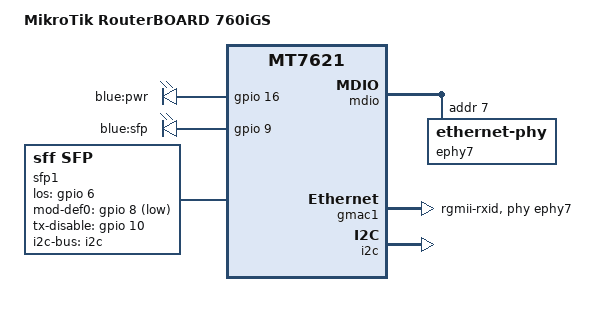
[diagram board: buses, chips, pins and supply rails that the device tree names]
// SPDX-License-Identifier: GPL-2.0-or-later OR MIT

#include "mt7621_mikrotik_routerboard-7xx.dtsi"

/ {
	compatible = "mikrotik,routerboard-760igs", "mediatek,mt7621-soc";
	model = "MikroTik RouterBOARD 760iGS";

	aliases {
		led-boot = &led_pwr;
		led-failsafe = &led_pwr;
		led-running = &led_pwr;
		led-upgrade = &led_pwr;
	};

	leds {
		compatible = "gpio-leds";

		led_pwr: pwr {
			label = "blue:pwr";
			gpios = <&gpio 16 GPIO_ACTIVE_HIGH>;
			default-state = "on";
		};

		sfp {
			label = "blue:sfp";
			gpios = <&gpio 9 GPIO_ACTIVE_HIGH>;
		};
	};

	sfp1: sfp1 {
		compatible = "sff,sfp";
		i2c-bus = <&i2c>;
		los-gpios = <&gpio 6 GPIO_ACTIVE_HIGH>;
		mod-def0-gpios = <&gpio 8 GPIO_ACTIVE_LOW>;
		tx-disable-gpios = <&gpio 10 GPIO_ACTIVE_HIGH>;
		maximum-power-milliwatt = <1000>;
	};
};

&mdio {
	ephy7: ethernet-phy@7 {
		reg = <7>;
		sfp = <&sfp1>;
	};
};

&gmac1 {
	status = "okay";

	label = "sfp";
	phy-mode = "rgmii-rxid";
	phy-handle = <&ephy7>;
};

&i2c {
	status = "okay";
};

&state_default {
	gpio {
		/* gpio7 (uart3 group) goes high when
		 * port5 (PoE out) is cabled to a
		 * Mikrotik PoE-in capable port,
		 * such as port1 on another rb760iGS */
		groups = "uart2", "uart3", "jtag", "wdt";
		function = "gpio";
	};
};
